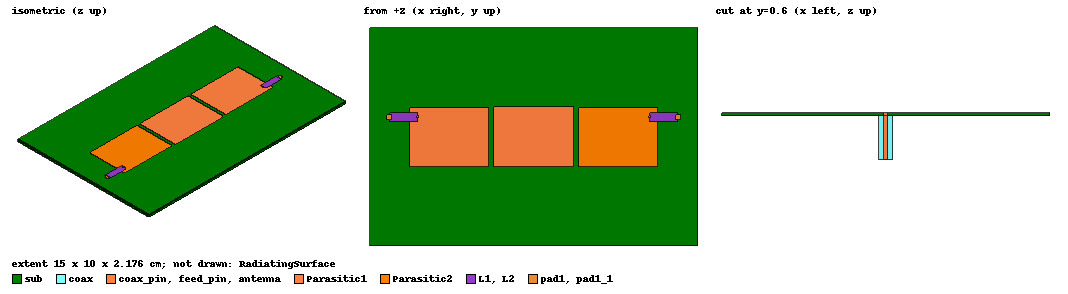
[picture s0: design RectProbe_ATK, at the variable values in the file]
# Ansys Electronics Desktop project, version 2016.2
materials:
  vacuum: permittivity=1
  Arlon AD430 (tm): permittivity=4.3 dielectric_loss_tangent=0.003
  pec: conductivity=1e+030
  Teflon (tm): permittivity=2.1 dielectric_loss_tangent=0.001

design RectProbe_ATK (HFSS, DrivenTerminal, model units cm)
options: Allow_Material_Override open_region{BoundaryType=0 OpFreq=2.5GHz}
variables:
  # --Antenna Dimensions
  patchX = 3.69cm
  patchY = 2.74cm
  # --Substrate Dimensions
  subH = 0.16cm
  subX = 15cm
  subY = 10cm
  # --Feed Dimensions
  feedX = 0cm
  feedY = 0.6cm
  coax_inner_rad = 0.1cm
  coax_outer_rad = 0.34cm
  feedLength = 2cm
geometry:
  sub [Arlon AD430 (tm)] = box(corner=(-subX/2, -subY/2, 0cm), size=(subX, subY, subH))
  Ground = rectangle(corner=(-subX/2, -subY/2, 0cm), x_size=subX, y_size=subY)
  antenna = rectangle(corner=(-patchX/2, -patchY/2, subH), x_size=patchX, y_size=patchY)
  NewObject_FIV9DA = circle(normal=Z, centre=(feedX, feedY, 0cm), radius=coax_outer_rad)
  Ground.subtract(NewObject_FIV9DA)
  feed_pin [pec] = cylinder(axis=Z, base_centre=(feedX, feedY, 0cm), radius=coax_inner_rad, height=subH)
  coax_pin [pec] = cylinder(axis=Z, base_centre=(feedX, feedY, 0cm), radius=coax_inner_rad, height=-feedLength)
  coax [Teflon (tm)] = cylinder(axis=Z, base_centre=(feedX, feedY, 0cm), radius=coax_outer_rad, height=-feedLength)
  port_cap [pec] = cylinder(axis=Z, base_centre=(feedX, feedY, -feedLength), radius=coax_outer_rad, height=-subH/10)
  port1 = circle(normal=Z, centre=(feedX, feedY, -feedLength), radius=coax_outer_rad)
  RadiatingSurface [vacuum] = region(absolute_offset=4cm on all sides)
  Parasitic1 [pec] = rectangle(corner=(-5.6612cm, -patchY/2, subH), x_size=patchX*0.98, y_size=patchY*0.98)
  Parasitic2 [pec] = rectangle(corner=(2.045cm, -patchY/2, subH), x_size=patchX*0.98, y_size=patchY*0.98)
  pad1 = rectangle(corner=(65mm, 10mm, subH), x_size=2mm, y_size=-2mm)
  Cylinder1 = cylinder(axis=Z, base_centre=(5.3cm, 0.9cm, subH), radius=0.5mm, height=-1.6mm)
  sub.subtract(Cylinder1)
  CirclepadTop = circle(normal=Z, centre=(5.3cm, 0.9cm, subH), radius=0.5mm)
  L1 = rectangle(corner=(5.3cm, 0.7cm, subH), x_size=1.3cm, y_size=0.4cm)
  Circlepadbottom = circle(normal=Z, centre=(5.3cm, 0.9cm, 0cm), radius=0.05cm)
  D1C1B = rectangle(corner=(0.2cm, 0.9cm, 0cm), y_size=0.15cm, z_size=0.04cm)
  D1C1B.move(5.15cm, -0.075cm, 0cm)
  D1R1 = rectangle(corner=(5.35cm, 0.825cm, 0.04cm), y_size=0.15cm, z_size=0.04cm)
  Rectangle2_1 = D1R1.duplicate_along_line(step=(1.12cm, -0.04cm, -2.7755576e-17cm), total=2)
  D1C2T = Rectangle2_1.duplicate_along_line(step=(-1.12cm, 0.04cm, 0.08cm), total=2)
  Rectangle2_1.delete()
  D1L1 = D1C2T.duplicate_along_line(step=(0cm, -3.3306691e-16cm, -0.04cm), total=2)
  [D1C1B, D1C2T, D1L1, D1R1].move(-0.04cm, 2.220446e-16cm, -2.7755576e-17cm)
  pad1_1 = pad1.duplicate_mirror(point=(0cm, 0cm, 0cm), normal=(-1cm, 0cm, 0cm))
  D2C1B = D1C1B.duplicate_mirror(point=(0cm, 0cm, 0cm), normal=(-1cm, 0cm, 0cm))
  D2C2T = D1C2T.duplicate_mirror(point=(0cm, 0cm, 0cm), normal=(-1cm, 0cm, 0cm))
  D2L1 = D1L1.duplicate_mirror(point=(0cm, 0cm, 0cm), normal=(-1cm, 0cm, 0cm))
  D2R1 = D1R1.duplicate_mirror(point=(0cm, 0cm, 0cm), normal=(-1cm, 0cm, 0cm))
  L2 = L1.duplicate_mirror(point=(0cm, 0cm, 0cm), normal=(-1cm, 0cm, 0cm))
  Circlepadbottom_1 = Circlepadbottom.duplicate_mirror(point=(0cm, 0cm, 0cm), normal=(-1cm, 0cm, 0cm))
  CirclepadTop_1 = CirclepadTop.duplicate_mirror(point=(0cm, 0cm, 0cm), normal=(-1cm, 0cm, 0cm))
  Cylinder2 = cylinder(axis=Z, base_centre=(-5.3cm, 0.9cm, 0cm), radius=0.05cm, height=1.6mm)
  sub.subtract(Cylinder2)
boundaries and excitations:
  antennaMetal: Perfect E Objects=antenna
  groundMetal: Perfect E Objects=Ground
  coax_outer: Perfect E Faces=coax.face(1 of 3)
  AutoOpen1: Radiation Objects=RadiatingSurface
  PerfE1: Perfect E Objects=Parasitic1
  PerfE2: Perfect E Objects=Parasitic2
  PerfE3: Perfect E Objects=pad1
  PerfE5: Perfect E Objects=CirclepadTop
  PerfE6: Perfect E Objects=Circlepadbottom
  D1C2T: Lumped RLC Objects=D1C2T CurrentLine{middle of D1C2T.edge(3 of 4) -> middle of D1C2T.edge(1 of 4)} Capacitance=120pF
  D1L1: Lumped RLC Objects=D1L1 CurrentLine{middle of D1L1.edge(3 of 4) -> middle of D1L1.edge(1 of 4)} Inductance=0.15nH
  D1R1: Lumped RLC Objects=D1R1 CurrentLine{middle of D1R1.edge(z opposite corner) -> middle of D1R1.edge(z at corner)} Resistance=4.7ohm
  D1C1B: Lumped RLC Objects=D1C1B CurrentLine{middle of D1C1B.edge(z opposite corner) -> middle of D1C1B.edge(z at corner)} Capacitance=120pF
  D2C2T: Lumped RLC Objects=D2C2T CurrentLine{D2C2T.edge(3 of 4) at 0.567 along -> D2C2T.edge(1 of 4) at 0.433 along} Capacitance=120pF
  D2L1: Lumped RLC Objects=D2L1 CurrentLine{middle of D2L1.edge(3 of 4) -> middle of D2L1.edge(1 of 4)} Inductance=0.15nH
  D2C1B: Lumped RLC Objects=D2C1B CurrentLine{middle of D2C1B.edge(3 of 4) -> middle of D2C1B.edge(1 of 4)} Capacitance=120pF
  D2R1: Lumped RLC Objects=D2R1 CurrentLine{middle of D2R1.edge(3 of 4) -> middle of D2R1.edge(1 of 4)} Resistance=7kOhm Capacitance=0.017pF
  L1: Lumped RLC Objects=L1 CurrentLine{middle of L1.edge(x opposite corner) -> middle of L1.edge(x at corner)} Inductance=220nH
  l2: Lumped RLC Objects=L2 CurrentLine{middle of L2.edge(4 of 4) -> middle of L2.edge(2 of 4)} Inductance=220nH
  PerfE7: Perfect E Objects=[Circlepadbottom_1, CirclepadTop_1]
  PerfE8: Perfect E Objects=pad1_1
  coax_pin_T1: Terminal port=1 Faces=coax_pin.face(2 of 3) TerminalResistance=50ohm
  1: Wave Port Faces=port1.face NumModes=1
  reference conductors: port_cap
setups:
  ATK_Solution: HfssDriven Frequency=2.5GHz MaxDeltaS=0.02 MaximumPasses=15 MinimumPasses=1 MinimumConvergedPasses=1 PercentRefinement=30 BasisOrder=1 PortAccuracy=2 IESolverType=ACA
    sweep FF_Sweep: 1.25GHz to 3.75GHz, 3 points; Type=Discrete SaveFields
    sweep SParam_Sweep: 1.25GHz to 3.75GHz, 100 points; Type=Interpolating InterpTolerance=0.5 InterpMaxSolns=250 PassivityErrorTolerance=0.0001
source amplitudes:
  1:1: 1V 0deg
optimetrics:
  ParametricSetup1: Parametric Sim._Setups=[ATK_Solution]
    sweep patchY: LIN 2.7cm 2.84cm 0.02cm
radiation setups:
  3D: Infinite Sphere Theta=0deg..180deg step 2deg Phi=-180deg..180deg step 2deg
  Elevation: Infinite Sphere Theta=-180deg..180deg step 1deg Phi=0deg..90deg step 90deg
  Azimuth: Infinite Sphere Theta=90deg..90deg step 0deg Phi=-180deg..180deg step 1deg
  2D_ATK: Infinite Sphere Theta=-180deg..180deg step 1deg Phi=0deg..90deg step 90deg
  3D_ATK: Infinite Sphere Theta=-180deg..180deg step 2deg Phi=0deg..180deg step 5deg
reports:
  ff_3D_GainTotal: dB(GainTotal) vs Phi, Theta on ATK_Solution : LastAdaptive, 3D_ATK [Freq=2.5GHz]
  ff_2D_GainTotal: dB(GainTotal) vs Theta on ATK_Solution : LastAdaptive, 2D_ATK [Phi=all Freq=2.5GHz]
  ff_2D_GainTotal_Stacked: dB(GainTotal) vs Theta on ATK_Solution : FF_Sweep, 2D_ATK [Phi=all Freq=all]
  Return Loss: dB(St11) vs Freq on ATK_Solution : SParam_Sweep; markers m1 at 2.5126263GHz
  Input Impedance: St11 on ATK_Solution : SParam_Sweep [Freq=all]
